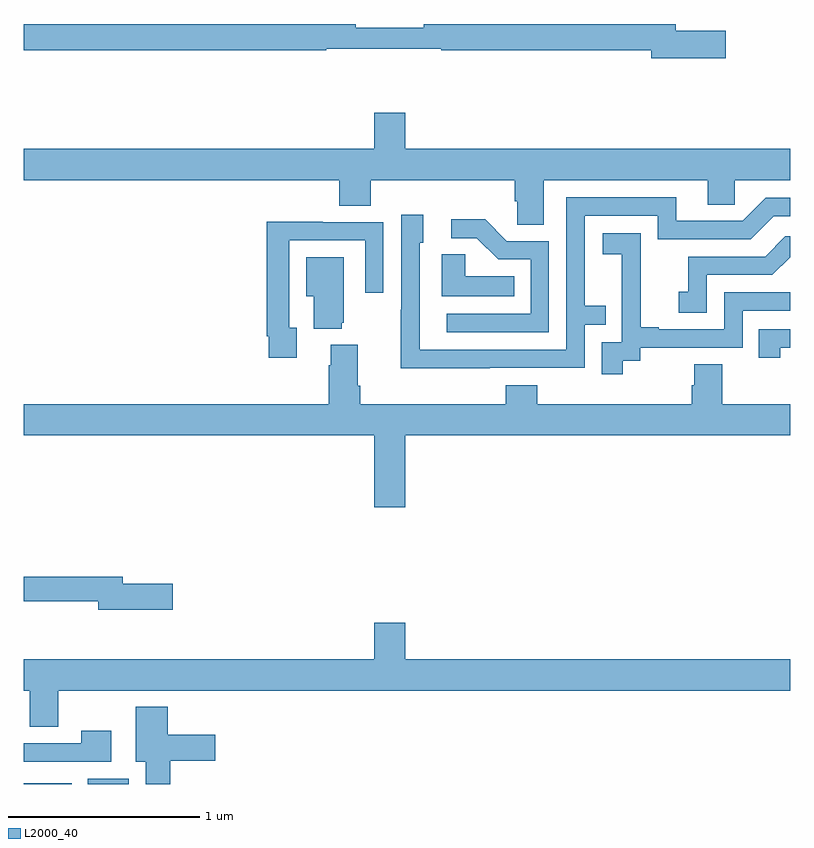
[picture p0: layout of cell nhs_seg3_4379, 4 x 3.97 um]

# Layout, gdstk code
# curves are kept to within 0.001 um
import gdstk
lib = gdstk.Library(unit=1e-6, precision=1e-09)
def R(c, l, rs):  # rectangles x0, y0, x1, y1
    for r in rs: c.add(gdstk.rectangle(r[:2], r[2:], *l))
def P(c, l, *ps):  # polygons
    for p in ps: c.add(gdstk.Polygon(p, *l))
L2000_40 = (2000, 40)

nhs_seg3_4379 = lib.new_cell('nhs_seg3_4379')
R(nhs_seg3_4379, L2000_40, [(343,728.4,343.249,728.404), (343.334,728.4,343.546,728.428)])
P(nhs_seg3_4379, L2000_40, [(346.663,732.332),(346.402,732.332),(346.402,732.368),(345.088,732.368),(345.088,732.349),(344.732,732.349),(344.732,732.368),(343,732.368),(343,732.232),(344.578,732.232),(344.578,732.24),(345.178,732.24),(345.178,732.232),(346.274,732.232),(346.274,732.19),(346.663,732.19)],
  [(345.715,731.552),(346.571,731.552),(346.571,731.425),(346.71,731.425),(346.71,731.552),(347,731.552),(347,731.716),(344.992,731.716),(344.992,731.905),(344.828,731.905),(344.828,731.716),(343,731.716),(343,731.552),(344.645,731.552),(344.645,731.419),(344.81,731.419),(344.81,731.552),(345.563,731.552),(345.563,731.443),(345.576,731.443),(345.576,731.32),(345.715,731.32)],
  [(345.431,730.572),(345.927,730.572),(345.927,730.797),(346.037,730.797),(346.037,730.898),(345.927,730.898),(345.927,731.367),(346.308,731.367),(346.308,731.244),(346.794,731.244),(346.914,731.364),(347,731.364),(347,731.46),(346.872,731.46),(346.752,731.34),(346.405,731.34),(346.405,731.463),(345.831,731.463),(345.831,730.668),(345.066,730.668),(345.066,731.226),(345.085,731.226),(345.085,731.371),(344.97,731.371),(344.97,730.877),(344.968,730.877),(344.968,730.571)],
  [(345.741,731.235),(345.522,731.235),(345.409,731.348),(345.231,731.348),(345.231,731.25),(345.365,731.25),(345.476,731.139),(345.645,731.139),(345.645,730.854),(345.207,730.854),(345.207,730.758),(345.741,730.758)],
  [(344.425,730.782),(344.385,730.782),(344.385,731.238),(344.781,731.238),(344.781,730.965),(344.877,730.965),(344.877,731.334),(344.561,731.334),(344.561,731.336),(344.269,731.336),(344.269,730.738),(344.277,730.738),(344.277,730.626),(344.425,730.626)],
  [(346.126,730.609),(346.218,730.609),(346.218,730.677),(346.752,730.677),(346.752,730.872),(347,730.872),(347,730.968),(346.656,730.968),(346.656,730.773),(346.315,730.773),(346.315,730.786),(346.22,730.786),(346.22,731.069),(346.221,731.069),(346.221,731.275),(346.023,731.275),(346.023,731.165),(346.121,731.165),(346.121,730.937),(346.122,730.937),(346.122,730.707),(346.017,730.707),(346.017,730.539),(346.126,730.539)],
  [(346.566,731.058),(346.908,731.058),(347,731.15),(347,731.259),(346.976,731.259),(346.871,731.154),(346.468,731.154),(346.468,730.969),(346.419,730.969),(346.419,730.86),(346.566,730.86)],
  [(345.56,731.05),(345.303,731.05),(345.303,731.165),(345.182,731.165),(345.182,730.946),(345.56,730.946)],
  [(344.66,730.809),(344.671,730.809),(344.671,731.149),(344.474,731.149),(344.474,730.946),(344.513,730.946),(344.513,730.778),(344.66,730.778)],
  [(346.948,730.677),(347,730.677),(347,730.773),(346.837,730.773),(346.837,730.626),(346.948,730.626)],
  [(344.992,730.22),(347,730.22),(347,730.384),(346.647,730.384),(346.647,730.592),(346.499,730.592),(346.499,730.482),(346.487,730.482),(346.487,730.384),(345.68,730.384),(345.68,730.483),(345.515,730.483),(345.515,730.384),(344.756,730.384),(344.756,730.48),(344.743,730.48),(344.743,730.693),(344.603,730.693),(344.603,730.586),(344.591,730.586),(344.591,730.384),(343,730.384),(343,730.22),(344.828,730.22),(344.828,729.846),(344.992,729.846)],
  [(343.777,729.446),(343.516,729.446),(343.516,729.482),(343,729.482),(343,729.354),(343.388,729.354),(343.388,729.311),(343.777,729.311)],
  [(343.179,728.888),(347,728.888),(347,729.052),(344.992,729.052),(344.992,729.241),(344.828,729.241),(344.828,729.052),(343,729.052),(343,728.888),(343.031,728.888),(343.031,728.698),(343.179,728.698)],
  [(343.763,728.522),(343.999,728.522),(343.999,728.656),(343.75,728.656),(343.75,728.803),(343.583,728.803),(343.583,728.516),(343.637,728.516),(343.637,728.4),(343.763,728.4)],
  [(343.456,728.677),(343.3,728.677),(343.3,728.613),(343,728.613),(343,728.517),(343.456,728.517)])

lib.write_gds('nhs_seg3_4379.gds')
